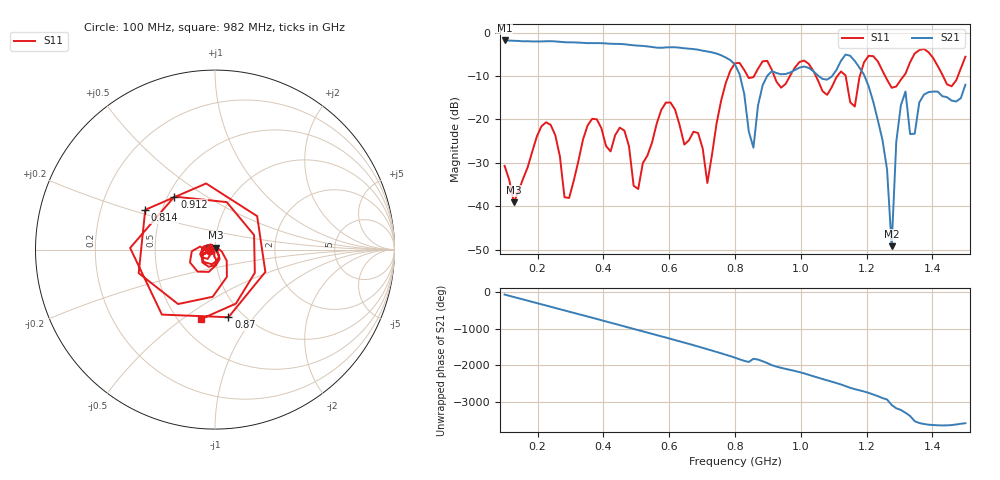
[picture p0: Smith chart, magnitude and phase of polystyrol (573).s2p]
! NanoVNA-App
! Date: 2025-09-25 15:34:20
! Start: 100MHz Stop: 1,5GHz Points: 101
! S-Parameter data: F S11 S21 S12 S22
# Hz S RI R 50
!  Frequency  S11_Real  S11_Imag  S21_Real  S21_Imag  S12_Real  S12_Imag  S22_Real  S22_Imag
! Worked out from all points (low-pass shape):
!   101 points, 100 MHz to 1.5 GHz, reference 50 ohm
!   highest |S21| = -1.80 dB at 100 MHz (marker M1); lowest = -49.2 dB at 1.276 GHz (marker M2)
!   |S21| within 3 dB of the highest: start of sweep to 743.2 MHz
!   lowest |S11| = -39.1 dB at 128 MHz (marker M3), VSWR 1.02, Z = 50.3 + j1.07 ohm
!   |S11| at or under -10 dB: start of sweep to 779.8 MHz; 1.046 GHz to 1.111 GHz (65.43 MHz wide, 6.07 % of centre); 1.256 GHz to 1.312 GHz (56.1 MHz wide, 4.37 % of centre) (the widest 3 of 7)
!   S12 and S22 are empty: the file has one direction only
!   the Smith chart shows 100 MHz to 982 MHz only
!   S11 on the Smith chart (normalised r, x): 100 MHz: 0.94, -0.01; 814 MHz: 0.40, +0.22; 870 MHz: 0.85, -0.76; 912 MHz: 0.54, +0.37; 982 MHz: 0.64, -0.59
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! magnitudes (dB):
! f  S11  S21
! 100 MHz  -30.7  -1.8
! 128 MHz  -39.1  -1.9
! 212 MHz  -21.6  -2.0
! 282 MHz  -37.9  -2.2
! 338 MHz  -24.7  -2.3
! 464 MHz  -22.6  -2.7
! 506 MHz  -36.0  -3.0
! 576 MHz  -17.8  -3.5
! 716 MHz  -34.6  -4.3
! 800 MHz  -7.0  -7.4
! 814 MHz  -7.0  -9.6
! 856 MHz  -10.3  -26.5
! 870 MHz  -8.3  -16.8
! 912 MHz  -8.6  -8.9
! 982 MHz  -8.1  -8.6
! 1.038 GHz  -8.8  -8.9
! 1.192 GHz  -6.8  -9.7
! 1.248 GHz  -8.8  -24.7
! 1.276 GHz  -12.7  -49.2
! 1.29 GHz  -12.4  -25.2
! 1.318 GHz  -9.4  -13.6
! 1.5 GHz  -5.6  -12.0
